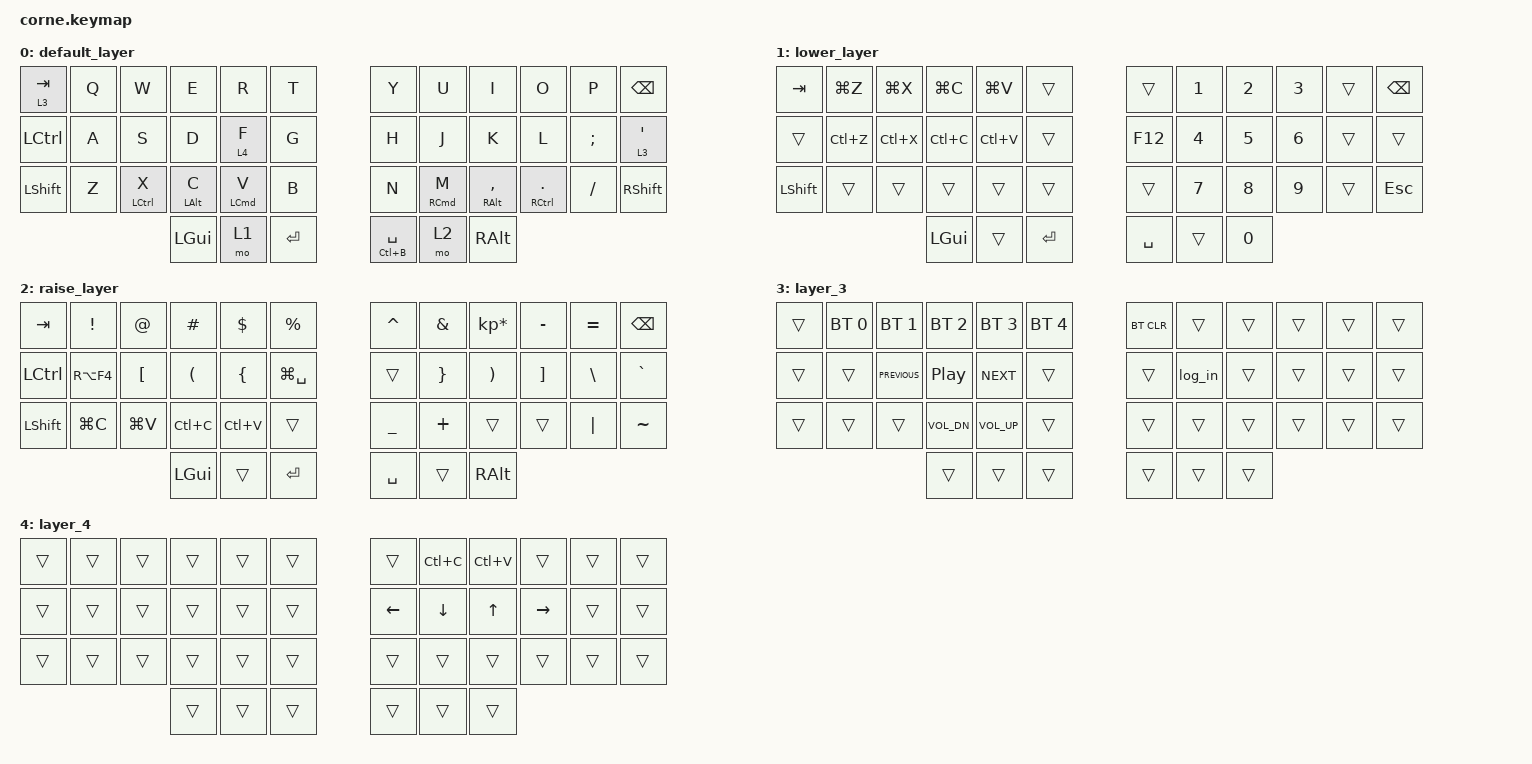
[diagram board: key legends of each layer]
/*
 * Copyright (c) 2020 The ZMK Contributors
 *
 * SPDX-License-Identifier: MIT
 */

#include <behaviors.dtsi>
#include <dt-bindings/zmk/bt.h>
#include <dt-bindings/zmk/keys.h>

/ {
    combos {
        compatible = "zmk,combos";

        cap_word {
            bindings = <&caps_word>;
            key-positions = <17 18>;
        };
    };

    macros {
        log_in: log_in {
            compatible = "zmk,behavior-macro";
            label = "LOG_IN";
            #binding-cells = <0>;
            bindings = <&kp LS(A) &kp U &kp G &kp U &kp S &kp T &kp LS(H) &kp EXCLAMATION &kp R &kp E &kp NUMBER_2 &kp NUMBER_2 &kp RET>;
        };
    };

    keymap {
        compatible = "zmk,keymap";

        default_layer {
            // -----------------------------------------------------------------------------------------
            // |  TAB |  Q  |  W  |  E  |  R  |  T  |   |  Y  |  U   |  I  |  O  |  P  | BKSP |
            // | CTRL |  A  |  S  |  D  |  F  |  G  |   |  H  |  J   |  K  |  L  |  ;  |  '   |
            // | SHFT |  Z  |  X  |  C  |  V  |  B  |   |  N  |  M   |  ,  |  .  |  /  | SHFT |
            //                    | GUI | LWR | ENT |   | SPC | RSE  | ALT |

            bindings = <
&lt 3 TAB  &kp Q  &kp W               &kp E           &kp R               &kp T         &kp Y            &kp U                &kp I                &kp O                     &kp P     &kp BSPC
&kp LCTRL  &kp A  &kp S               &kp D           &lt 4 F             &kp G         &kp H            &kp J                &kp K                &kp L                     &kp SEMI  &lt 3 SINGLE_QUOTE
&kp LSHFT  &kp Z  &mt LEFT_CONTROL X  &mt LEFT_ALT C  &mt LEFT_COMMAND V  &kp B         &kp N            &mt RIGHT_COMMAND M  &mt RIGHT_ALT COMMA  &mt RIGHT_CONTROL PERIOD  &kp FSLH  &kp RSHFT
                                      &kp LGUI        &mo 1               &kp RETURN    &mt LC(B) SPACE  &mo 2                &kp RALT
            >;
        };

        lower_layer {
            // -----------------------------------------------------------------------------------------
            // |  TAB |  1  |  2  |  3  |  4  |  5  |   |  6  |  7  |  8  |  9  |  0  | BKSP |
            // | BTCLR| BT1 | BT2 | BT3 | BT4 | BT5 |   | LFT | DWN |  UP | RGT |     |      |
            // | SHFT |     |     |     |     |     |   |     |     |     |     |     | ESC  |
            //                    | GUI |     | ENT |   | SPC |     | ALT |

            bindings = <
&kp TAB    &kp LG(Z)  &kp LG(X)  &kp LG(C)  &kp LG(V)  &trans     &trans     &kp NUMBER_1  &kp NUMBER_2  &kp NUMBER_3  &trans  &kp BSPC
&trans     &kp LC(Z)  &kp LC(X)  &kp LC(C)  &kp LC(V)  &trans     &kp F12    &kp NUMBER_4  &kp NUMBER_5  &kp NUMBER_6  &trans  &trans
&kp LSHFT  &trans     &trans     &trans     &trans     &trans     &trans     &kp NUMBER_7  &kp NUMBER_8  &kp NUMBER_9  &trans  &kp ESC
                                 &kp LGUI   &trans     &kp RET    &kp SPACE  &trans        &kp NUMBER_0
            >;
        };

        raise_layer {
            // -----------------------------------------------------------------------------------------
            // |  TAB |  !  |  @  |  #  |  $  |  %  |   |  ^  |  &  |  *  |  -  |  =  | BKSP |
            // | CTRL |     |  [  |  (  |  {  |     |   |     |  }  |  )  |  ]  |  \  |  `   |
            // | SHFT |     |     |     |     |     |   |  _  |  +  |     |     | "|" |  ~   |
            //                    | GUI |     | ENT |   | SPC |     | ALT |

            bindings = <
&kp TAB    &kp EXCL    &kp AT     &kp HASH   &kp DLLR   &kp PRCNT        &kp CARET  &kp AMPS  &kp KP_MULTIPLY  &kp MINUS  &kp EQUAL  &kp BSPC
&kp LCTRL  &kp RA(F4)  &kp LBKT   &kp LPAR   &kp LBRC   &kp LG(SPACE)    &trans     &kp RBRC  &kp RPAR         &kp RBKT   &kp BSLH   &kp GRAVE
&kp LSHFT  &kp LG(C)   &kp LG(V)  &kp LC(C)  &kp LC(V)  &trans           &kp UNDER  &kp PLUS  &trans           &trans     &kp PIPE   &kp TILDE
                                  &kp LGUI   &trans     &kp RET          &kp SPACE  &trans    &kp RALT
            >;
        };

        layer_3 {
            bindings = <
&trans  &bt BT_SEL 0  &bt BT_SEL 1    &bt BT_SEL 2      &bt BT_SEL 3  &bt BT_SEL 4    &bt BT_CLR  &trans   &trans  &trans  &trans  &trans
&trans  &trans        &kp C_PREVIOUS  &kp C_PLAY_PAUSE  &kp C_NEXT    &trans          &trans      &log_in  &trans  &trans  &trans  &trans
&trans  &trans        &trans          &kp C_VOL_DN      &kp C_VOL_UP  &trans          &trans      &trans   &trans  &trans  &trans  &trans
                                      &trans            &trans        &trans          &trans      &trans   &trans
            >;
        };

        layer_4 {
            bindings = <
&trans  &trans  &trans  &trans  &trans  &trans    &trans          &kp LC(C)       &kp LC(V)     &trans           &trans  &trans
&trans  &trans  &trans  &trans  &trans  &trans    &kp LEFT_ARROW  &kp DOWN_ARROW  &kp UP_ARROW  &kp RIGHT_ARROW  &trans  &trans
&trans  &trans  &trans  &trans  &trans  &trans    &trans          &trans          &trans        &trans           &trans  &trans
                        &trans  &trans  &trans    &trans          &trans          &trans
            >;
        };
    };
};
